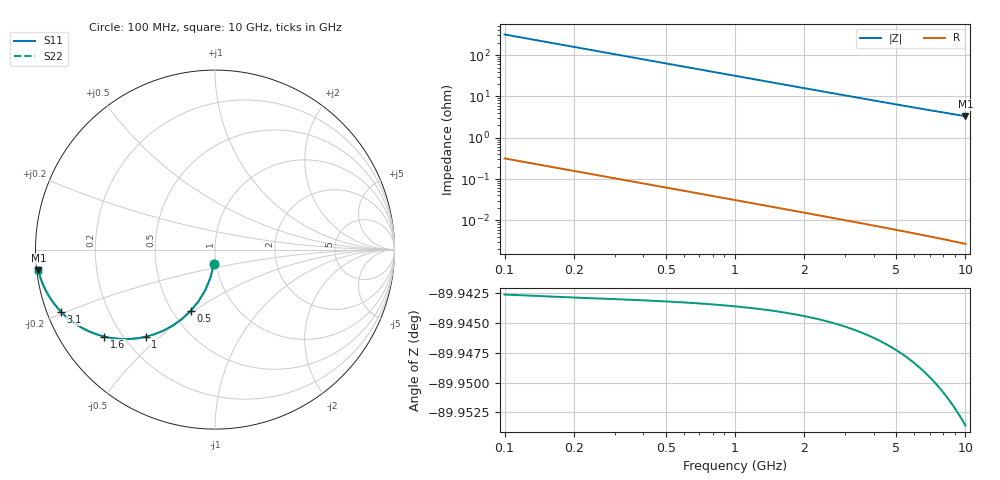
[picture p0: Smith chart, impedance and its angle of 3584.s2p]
# Hz S RI R 50.00
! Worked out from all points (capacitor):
!   100 points, 100 MHz to 10 GHz, reference 50 ohm
!   read as one part in shunt: C = 5.05 pF near 100 MHz
!   lowest |Z| = 3.33 ohm at 10 GHz (marker M1)
!   S11 on the Smith chart (normalised r, x): 100 MHz: 0.98, -0.15; 500 MHz: 0.61, -0.49; 1 GHz: 0.28, -0.45; 1.6 GHz: 0.14, -0.34; 3.1 GHz: 0.04, -0.19; 10 GHz: 0.00, -0.06
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1e8  -0.00632 -0.0788  0.9936 -0.079  0.9936 -0.079  -0.00632 -0.0788
2e8  -0.0247 -0.1547  0.9752 -0.155  0.9752 -0.155  -0.0247 -0.1547
3e8  -0.0538 -0.225  0.9461 -0.2255  0.9461 -0.2255  -0.0538 -0.225
4e8  -0.0918 -0.288  0.9082 -0.2886  0.9082 -0.2886  -0.0918 -0.288
5e8  -0.1363 -0.3423  0.8637 -0.343  0.8637 -0.343  -0.1363 -0.3423
6e8  -0.1851 -0.3874  0.8149 -0.3883  0.8149 -0.3883  -0.1851 -0.3874
7e8  -0.236 -0.4236  0.7639 -0.4247  0.7639 -0.4247  -0.236 -0.4236
8e8  -0.2874 -0.4515  0.7125 -0.4527  0.7125 -0.4527  -0.2874 -0.4515
1e9  -0.3864 -0.4857  0.6136 -0.4872  0.6136 -0.4872  -0.3864 -0.4857
1.3e9  -0.5153 -0.4983  0.4847 -0.5002  0.4847 -0.5002  -0.5153 -0.4983
1.6e9  -0.6167 -0.4845  0.3833 -0.4869  0.3833 -0.4869  -0.6167 -0.4845
1.8e9  -0.6705 -0.4682  0.3295 -0.4709  0.3295 -0.4709  -0.6705 -0.4682
2.1e9  -0.7345 -0.4395  0.2654 -0.4426  0.2654 -0.4426  -0.7345 -0.4395
2.4e9  -0.7831 -0.4098  0.2168 -0.4134  0.2168 -0.4134  -0.7831 -0.4098
2.7e9  -0.8204 -0.3813  0.1796 -0.3854  0.1796 -0.3854  -0.8204 -0.3813
3.1e9  -0.8574 -0.3467  0.1425 -0.3514  0.1425 -0.3514  -0.8574 -0.3467
3.4e9  -0.8785 -0.3236  0.1214 -0.3287  0.1214 -0.3287  -0.8785 -0.3236
4.2e9  -0.9168 -0.2724  0.0831 -0.2788  0.0831 -0.2788  -0.9168 -0.2724
5.1e9  -0.942 -0.2293  0.0579 -0.2371  0.0579 -0.2371  -0.942 -0.2293
6.7e9  -0.9656 -0.1765  0.0343 -0.1869  0.0343 -0.1869  -0.9656 -0.1765
8.4e9  -0.9779 -0.1397  0.022 -0.1529  0.022 -0.1529  -0.9779 -0.1397
1e10  -0.9844 -0.1153  0.0155 -0.1311  0.0155 -0.1311  -0.9844 -0.1153
